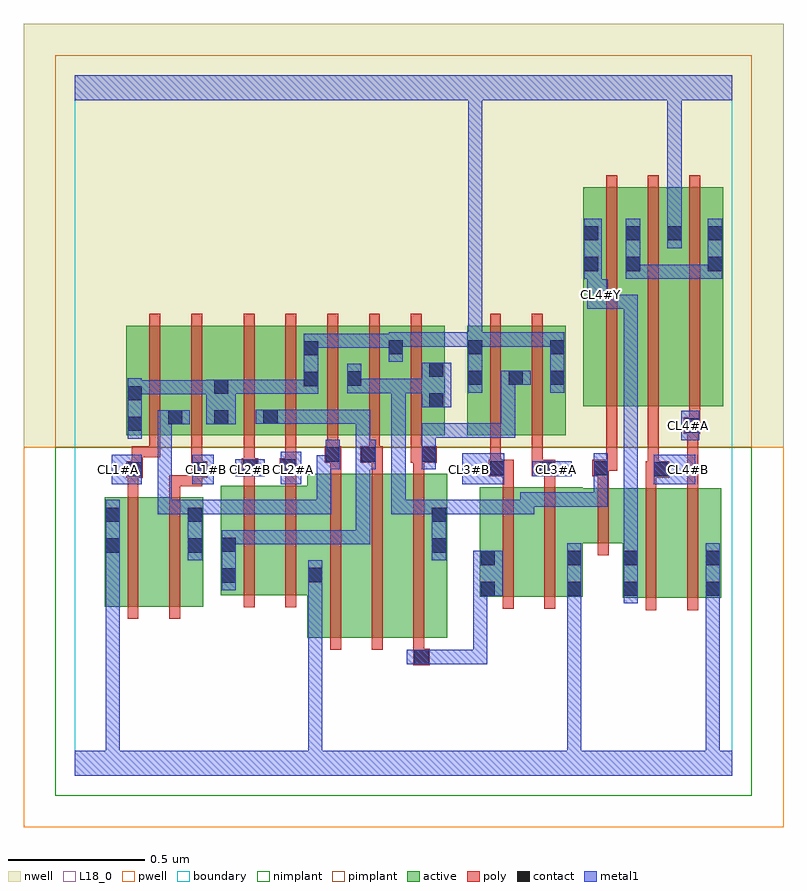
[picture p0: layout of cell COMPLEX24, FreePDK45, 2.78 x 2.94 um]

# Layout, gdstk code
import gdstk
lib = gdstk.Library(unit=1e-6, precision=1e-09)
def R(c, l, rs):  # rectangles x0, y0, x1, y1
    for r in rs: c.add(gdstk.rectangle(r[:2], r[2:], *l))
def A(c, l, x, y, w, h, nx, ny, dx, dy):  # array of equal rectangles
    R(c, l, [(x+i*dx, y+j*dy, x+i*dx+w, y+j*dy+h) for i in range(nx) for j in range(ny)])
active = (1, 0)
pwell = (2, 0)
nwell = (3, 0)
nimplant = (4, 0)
pimplant = (5, 0)
poly = (9, 0)
contact = (10, 0)
metal1 = (11, 0)
L18_0 = (18, 0)
boundary = (235, 0)

complex24 = lib.new_cell('COMPLEX24')
R(complex24, active, [(0.848,0.504,1.028,1.104), (1.028,0.504,1.18,1.104), (1.18,0.504,1.36,1.104), (1.3,0.556,1.36,1.104), (0.108,0.618,0.168,1.018), (0.108,0.618,0.288,1.018), (0.288,0.618,0.468,1.018), (0.408,0.618,0.468,1.018), (2,0.65,2.06,1.05), (2,0.65,2.18,1.05), (2.18,0.65,2.36,1.05), (2.3,0.65,2.36,1.05), (1.478,0.654,1.538,1.054), (1.478,0.654,1.658,1.054), (1.658,0.654,1.854,1.054), (1.794,0.654,1.854,0.85), (0.532,0.66,0.592,1.06), (0.532,0.66,0.712,1.06), (0.712,0.66,0.908,1.06), (0.848,0.704,0.908,0.764), (1.794,0.85,2.06,1.05), (0.188,1.244,0.248,1.644), (0.188,1.244,0.396,1.644), (0.336,1.244,0.564,1.644), (0.504,1.244,0.744,1.644), (0.684,1.244,0.892,1.644), (0.832,1.244,1.05,1.644), (0.99,1.244,1.202,1.644), (1.142,1.244,1.35,1.644), (1.29,1.244,1.35,1.644), (1.432,1.244,1.492,1.644), (1.432,1.244,1.64,1.644), (1.58,1.244,1.792,1.644), (1.732,1.244,1.792,1.644), (0.336,1.28,0.396,1.644), (0.504,1.28,0.564,1.644), (0.684,1.282,0.744,1.644), (1.856,1.35,1.916,2.044), (1.856,1.35,2.068,2.15), (2.008,1.35,2.22,2.15), (2.16,1.35,2.368,2.15), (2.16,1.35,2.22,2.15), (2.308,1.35,2.368,2.044), (0.832,1.42,0.892,1.644), (0.99,1.422,1.05,1.644), (1.58,1.424,1.64,1.644), (1.142,1.536,1.202,1.644), (2.008,1.686,2.068,2.044)])
R(complex24, pwell, [(-0.188,-0.188,2.588,1.2)])
R(complex24, nwell, [(-0.188,1.2,2.588,2.748)])
R(complex24, nimplant, [(-0.072,-0.072,2.472,1.2)])
R(complex24, pimplant, [(-0.072,1.2,2.472,2.632)])
A(complex24, poly, 0.932, 0.46, 0.04, 0.688, 3, 1, 0.152, 0)
A(complex24, poly, 0.932, 1.108, 0.04, 0.076, 3, 1, 0.152, 0)
A(complex24, poly, 0.922, 1.164, 0.04, 0.076, 3, 1, 0.152, 0)
A(complex24, poly, 0.922, 1.2, 0.04, 0.488, 3, 1, 0.152, 0)
A(complex24, poly, 1.94, 1.306, 0.04, 0.888, 3, 1, 0.152, 0)
R(complex24, poly, [(1.236,0.404,1.296,0.464), (1.236,0.424,1.276,0.5), (0.192,0.574,0.232,1.062), (0.344,0.574,0.384,1.062), (2.084,0.606,2.124,1.094), (2.236,0.606,2.276,1.094), (1.562,0.61,1.602,1.098), (1.714,0.61,1.754,1.098), (0.616,0.616,0.656,1.104), (0.768,0.616,0.808,1.104), (1.91,0.806,1.95,1.094), (0.192,1.022,0.232,1.13), (0.344,1.022,0.384,1.098), (1.91,1.054,1.95,1.134), (2.084,1.054,2.124,1.13), (2.236,1.054,2.276,1.29), (0.344,1.058,0.464,1.098), (0.424,1.058,0.464,1.13), (1.562,1.058,1.602,1.134), (1.714,1.058,1.754,1.134), (0.616,1.064,0.656,1.14), (0.768,1.064,0.808,1.14), (0.188,1.09,0.248,1.15), (0.424,1.09,0.484,1.15), (2.084,1.09,2.17,1.15), (1.512,1.094,1.602,1.154), (1.668,1.094,1.754,1.154), (1.714,1.094,1.754,1.134), (1.714,1.094,1.754,1.134), (1.89,1.094,1.95,1.154), (0.61,1.1,0.67,1.16), (0.616,1.1,0.656,1.14), (0.616,1.1,0.656,1.14), (0.748,1.1,0.808,1.16), (0.768,1.1,0.808,1.14), (0.768,1.1,0.808,1.14), (0.208,1.11,0.248,1.204), (0.424,1.11,0.464,1.24), (2.092,1.11,2.132,1.15), (2.092,1.11,2.132,1.15), (2.092,1.11,2.132,1.346), (1.516,1.114,1.556,1.154), (1.516,1.114,1.556,1.154), (1.516,1.114,1.556,1.24), (1.668,1.114,1.708,1.24), (1.91,1.114,1.95,1.154), (1.91,1.114,1.98,1.154), (1.94,1.114,1.98,1.346), (0.616,1.12,0.656,1.24), (0.768,1.12,0.808,1.24), (0.912,1.144,0.972,1.204), (1.042,1.144,1.124,1.204), (1.226,1.144,1.322,1.204), (1.236,1.144,1.276,1.184), (1.236,1.144,1.276,1.184), (0.208,1.164,0.312,1.204), (0.272,1.164,0.312,1.24), (0.922,1.164,0.962,1.204), (0.922,1.164,0.962,1.204), (1.074,1.164,1.114,1.204), (1.074,1.164,1.114,1.204), (0.272,1.2,0.312,1.688), (0.424,1.2,0.464,1.688), (0.616,1.2,0.656,1.688), (0.768,1.2,0.808,1.688), (1.516,1.2,1.556,1.688), (1.668,1.2,1.708,1.688), (2.224,1.25,2.284,1.31), (2.236,1.25,2.276,1.29), (2.236,1.25,2.276,1.29), (2.244,1.27,2.284,1.346)])
A(complex24, contact, 1.86, 1.956, 0.052, 0.052, 3, 1, 0.152, 0)
R(complex24, contact, [(1.24,0.408,1.292,0.46), (1.482,0.658,1.534,0.71), (1.798,0.658,1.85,0.71), (2.004,0.658,2.056,0.71), (2.304,0.658,2.356,0.71), (0.536,0.706,0.588,0.758), (0.852,0.708,0.904,0.76), (1.482,0.77,1.534,0.822), (1.798,0.77,1.85,0.822), (2.004,0.77,2.056,0.822), (2.304,0.77,2.356,0.822), (0.112,0.816,0.164,0.868), (0.412,0.816,0.464,0.868), (1.304,0.816,1.356,0.868), (0.536,0.818,0.588,0.87), (0.112,0.928,0.164,0.98), (0.412,0.928,0.464,0.98), (1.304,0.928,1.356,0.98), (0.192,1.094,0.244,1.146), (0.428,1.094,0.48,1.146), (2.114,1.094,2.166,1.146), (1.516,1.098,1.568,1.15), (1.698,1.098,1.75,1.15), (1.894,1.098,1.946,1.15), (0.614,1.104,0.666,1.156), (0.752,1.104,0.804,1.156), (0.916,1.148,0.968,1.2), (1.046,1.148,1.098,1.2), (1.266,1.148,1.318,1.2), (2.228,1.254,2.28,1.306), (0.192,1.26,0.244,1.312), (0.34,1.284,0.392,1.336), (0.508,1.284,0.56,1.336), (0.688,1.286,0.74,1.338), (1.294,1.346,1.346,1.398), (0.192,1.372,0.244,1.424), (0.508,1.396,0.56,1.448), (0.836,1.424,0.888,1.476), (0.994,1.426,1.046,1.478), (1.436,1.428,1.488,1.48), (1.584,1.428,1.636,1.48), (1.736,1.428,1.788,1.48), (1.294,1.458,1.346,1.51), (0.836,1.536,0.888,1.588), (1.146,1.54,1.198,1.592), (1.436,1.54,1.488,1.592), (1.736,1.54,1.788,1.592), (1.86,1.844,1.912,1.896), (2.012,1.844,2.064,1.896), (2.312,1.844,2.364,1.896), (2.312,1.956,2.364,2.008)])
R(complex24, metal1, [(0,0,2.4,0.092), (0.112,0.04,0.164,0.092), (0.112,0.04,0.164,0.092), (0.112,0.04,0.164,0.092), (0.112,0.04,0.164,0.092), (0.112,0.04,0.164,0.092), (0.112,0.04,0.164,0.092), (0.112,0.04,0.164,0.092), (0.112,0.04,0.164,0.092), (0.112,0.04,0.164,0.092), (0.112,0.04,0.164,0.092), (0.112,0.04,0.164,0.092), (0.112,0.04,0.164,0.092), (0.112,0.04,0.164,0.84), (0.852,0.04,0.904,0.092), (0.852,0.04,0.904,0.092), (0.852,0.04,0.904,0.092), (0.852,0.04,0.904,0.092), (0.852,0.04,0.904,0.092), (0.852,0.04,0.904,0.092), (0.852,0.04,0.904,0.642), (1.798,0.04,1.85,0.092), (1.798,0.04,1.85,0.092), (1.798,0.04,1.85,0.092), (1.798,0.04,1.85,0.092), (1.798,0.04,1.85,0.202), (2.304,0.04,2.356,0.682), (2.304,0.04,2.356,0.092), (2.304,0.04,2.356,0.092), (2.304,0.04,2.356,0.092), (2.304,0.04,2.356,0.092), (2.304,0.04,2.356,0.092), (2.304,0.04,2.356,0.092), (2.304,0.04,2.356,0.092), (2.304,0.04,2.356,0.092), (2.304,0.04,2.356,0.092), (2.304,0.04,2.356,0.092), (2.304,0.04,2.356,0.092), (2.304,0.04,2.356,0.092), (1.798,0.15,1.85,0.202), (1.798,0.15,1.85,0.202), (1.798,0.15,1.85,0.202), (1.798,0.15,1.85,0.202), (1.798,0.15,1.85,0.202), (1.798,0.15,1.85,0.202), (1.798,0.15,1.85,0.202), (1.798,0.15,1.85,0.682), (1.212,0.408,1.32,0.46), (1.268,0.408,1.32,0.46), (1.268,0.408,1.32,0.46), (1.268,0.408,1.506,0.46), (1.454,0.408,1.506,0.46), (1.454,0.408,1.506,0.71), (0.852,0.59,0.904,0.642), (0.852,0.59,0.904,0.732), (1.798,0.63,1.85,0.85), (2.004,0.63,2.056,0.85), (2.304,0.63,2.356,0.85), (1.454,0.658,1.506,0.71), (1.454,0.658,1.506,0.71), (1.454,0.658,1.506,0.71), (1.454,0.658,1.506,0.71), (1.454,0.658,1.562,0.822), (0.536,0.678,0.588,0.898), (0.852,0.68,0.904,0.788), (0.112,0.788,0.164,1.008), (0.412,0.788,0.464,1.008), (1.304,0.788,1.356,1.008), (2.004,0.798,2.056,0.85), (2.004,0.798,2.056,0.85), (2.004,0.798,2.056,1.758), (0.536,0.846,0.778,0.898), (0.536,0.846,0.588,0.898), (0.536,0.846,0.588,0.898), (0.726,0.846,0.778,0.898), (0.726,0.846,0.778,0.898), (0.726,0.846,0.778,0.898), (0.726,0.846,0.936,0.898), (0.884,0.846,0.936,0.898), (0.884,0.846,0.936,0.898), (0.884,0.846,0.936,0.898), (0.884,0.846,1.078,0.898), (1.026,0.846,1.078,0.898), (1.026,0.846,1.078,1.228), (0.302,0.956,0.354,1.008), (0.302,0.956,0.354,1.008), (0.302,0.956,0.354,1.008), (0.302,0.956,0.354,1.008), (0.302,0.956,0.354,1.008), (0.302,0.956,0.464,1.008), (0.302,0.956,0.354,1.336), (0.412,0.956,0.464,1.008), (0.412,0.956,0.464,1.008), (0.412,0.956,0.464,1.008), (0.412,0.956,0.464,1.008), (0.412,0.956,0.588,1.008), (0.536,0.956,0.588,1.008), (0.536,0.956,0.724,1.008), (0.672,0.956,0.724,1.008), (0.672,0.956,0.724,1.008), (0.672,0.956,0.724,1.008), (0.672,0.956,0.936,1.008), (0.884,0.956,0.936,1.172), (1.156,0.956,1.208,1.008), (1.156,0.956,1.208,1.008), (1.156,0.956,1.208,1.008), (1.156,0.956,1.356,1.008), (1.156,0.956,1.208,1.45), (1.304,0.956,1.466,1.008), (1.414,0.956,1.466,1.008), (1.414,0.956,1.466,1.008), (1.414,0.956,1.466,1.008), (1.414,0.956,1.678,1.008), (1.626,0.956,1.678,1.008), (1.626,0.956,1.678,1.036), (1.626,0.984,1.678,1.036), (1.626,0.984,1.788,1.036), (1.736,0.984,1.788,1.036), (1.736,0.984,1.788,1.036), (1.736,0.984,1.788,1.036), (1.736,0.984,1.946,1.036), (1.894,0.984,1.946,1.122), (0.134,1.066,0.244,1.174), (0.428,1.066,0.506,1.174), (0.752,1.066,0.826,1.184), (1.414,1.066,1.568,1.178), (2.114,1.066,2.266,1.174), (1.894,1.07,1.946,1.122), (1.894,1.07,1.946,1.178), (0.586,1.094,0.694,1.156), (1.67,1.094,1.814,1.15), (0.884,1.12,0.968,1.172), (0.916,1.12,0.968,1.228), (1.046,1.12,1.098,1.228), (1.266,1.12,1.318,1.228), (1.026,1.176,1.078,1.228), (1.026,1.176,1.078,1.338), (1.026,1.176,1.098,1.228), (1.266,1.176,1.318,1.228), (1.266,1.176,1.318,1.288), (2.214,1.226,2.28,1.334), (0.192,1.232,0.244,1.452), (1.266,1.236,1.498,1.288), (1.446,1.236,1.498,1.288), (1.446,1.236,1.608,1.288), (1.556,1.236,1.608,1.288), (1.556,1.236,1.608,1.288), (1.556,1.236,1.608,1.288), (1.556,1.236,1.608,1.48), (0.302,1.284,0.42,1.336), (0.48,1.284,0.588,1.448), (0.66,1.286,0.768,1.338), (0.716,1.286,0.768,1.338), (0.716,1.286,0.768,1.338), (0.716,1.286,0.936,1.338), (0.884,1.286,0.936,1.338), (0.884,1.286,0.936,1.338), (0.884,1.286,0.936,1.338), (0.884,1.286,0.936,1.338), (0.884,1.286,0.936,1.338), (0.884,1.286,1.078,1.338), (1.026,1.286,1.078,1.338), (1.266,1.346,1.374,1.51), (0.192,1.394,0.244,1.446), (0.192,1.394,0.244,1.446), (0.192,1.394,0.354,1.446), (0.302,1.394,0.354,1.446), (0.302,1.394,0.354,1.446), (0.302,1.394,0.354,1.446), (0.302,1.394,0.478,1.446), (0.426,1.394,0.478,1.446), (0.426,1.394,0.532,1.446), (0.536,1.396,0.588,1.448), (0.536,1.396,0.588,1.448), (0.536,1.396,0.698,1.448), (0.646,1.396,0.888,1.448), (0.646,1.396,0.698,1.448), (0.646,1.396,0.698,1.448), (0.646,1.396,0.698,1.448), (0.836,1.396,0.888,1.616), (0.994,1.398,1.046,1.506), (0.994,1.398,1.098,1.45), (1.046,1.398,1.098,1.45), (1.046,1.398,1.208,1.45), (1.156,1.398,1.208,1.45), (1.156,1.398,1.208,1.45), (1.156,1.398,1.208,1.45), (1.156,1.398,1.208,1.45), (1.156,1.398,1.208,1.45), (1.156,1.398,1.318,1.45), (1.266,1.398,1.318,1.45), (1.266,1.398,1.318,1.45), (1.436,1.4,1.488,1.62), (1.736,1.4,1.788,1.62), (1.556,1.428,1.664,1.48), (1.146,1.512,1.198,1.62), (0.836,1.564,0.936,1.616), (0.884,1.564,0.936,1.616), (0.884,1.564,1.088,1.616), (1.036,1.564,1.088,1.616), (1.036,1.564,1.088,1.616), (1.036,1.564,1.088,1.616), (1.036,1.564,1.198,1.616), (1.146,1.568,1.356,1.62), (1.304,1.568,1.356,1.62), (1.304,1.568,1.356,1.62), (1.304,1.568,1.356,1.62), (1.304,1.568,1.488,1.62), (1.436,1.568,1.678,1.62), (1.436,1.568,1.488,1.62), (1.436,1.568,1.488,1.62), (1.436,1.568,1.488,2.52), (1.626,1.568,1.678,1.62), (1.626,1.568,1.788,1.62), (1.736,1.568,1.788,1.62), (1.736,1.568,1.788,1.62), (1.872,1.706,1.946,1.814), (1.894,1.706,1.946,1.758), (1.894,1.706,1.946,1.758), (1.894,1.706,2.056,1.758), (2.004,1.706,2.056,1.758), (1.872,1.762,1.924,1.868), (1.86,1.816,1.924,2.036), (2.012,1.816,2.064,2.036), (2.012,1.816,2.064,1.868), (2.012,1.816,2.064,1.868), (2.012,1.816,2.174,1.868), (2.122,1.816,2.364,1.868), (2.122,1.816,2.174,1.868), (2.122,1.816,2.174,1.868), (2.122,1.816,2.174,1.868), (2.312,1.816,2.364,2.036), (2.164,1.928,2.216,2.036), (2.164,1.984,2.216,2.52), (0,2.468,2.4,2.56), (1.436,2.468,1.488,2.52), (1.436,2.468,1.488,2.52), (1.436,2.468,1.488,2.52), (1.436,2.468,1.488,2.52), (1.436,2.468,1.488,2.52), (1.436,2.468,1.488,2.52), (1.436,2.468,1.488,2.52), (1.436,2.468,1.488,2.52), (1.436,2.468,1.488,2.52), (1.436,2.468,1.488,2.52), (1.436,2.468,1.488,2.52), (1.436,2.468,1.488,2.52), (1.436,2.468,1.488,2.52), (1.436,2.468,1.488,2.52), (1.436,2.468,1.488,2.52), (1.436,2.468,1.488,2.52), (2.164,2.468,2.216,2.52), (2.164,2.468,2.216,2.52), (2.164,2.468,2.216,2.52), (2.164,2.468,2.216,2.52), (2.164,2.468,2.216,2.52), (2.164,2.468,2.216,2.52), (2.164,2.468,2.216,2.52), (2.164,2.468,2.216,2.52)])
A(complex24, L18_0, 0.454, 1.094, 0.052, 0.052, 3, 1, 0.16, 0)
R(complex24, L18_0, [(0,0,2.4,0.092), (0.112,0.04,0.164,0.092), (0.112,0.04,0.164,0.092), (0.112,0.04,0.164,0.092), (0.112,0.04,0.164,0.092), (0.112,0.04,0.164,0.092), (0.112,0.04,0.164,0.092), (0.112,0.04,0.164,0.092), (0.112,0.04,0.164,0.092), (0.112,0.04,0.164,0.092), (0.112,0.04,0.164,0.092), (0.112,0.04,0.164,0.092), (0.112,0.04,0.164,0.092), (0.112,0.04,0.164,0.84), (0.852,0.04,0.904,0.092), (0.852,0.04,0.904,0.092), (0.852,0.04,0.904,0.092), (0.852,0.04,0.904,0.092), (0.852,0.04,0.904,0.092), (0.852,0.04,0.904,0.092), (0.852,0.04,0.904,0.642), (1.798,0.04,1.85,0.092), (1.798,0.04,1.85,0.092), (1.798,0.04,1.85,0.092), (1.798,0.04,1.85,0.092), (1.798,0.04,1.85,0.202), (2.304,0.04,2.356,0.092), (2.304,0.04,2.356,0.092), (2.304,0.04,2.356,0.092), (2.304,0.04,2.356,0.092), (2.304,0.04,2.356,0.092), (2.304,0.04,2.356,0.092), (2.304,0.04,2.356,0.092), (2.304,0.04,2.356,0.092), (2.304,0.04,2.356,0.092), (2.304,0.04,2.356,0.092), (2.304,0.04,2.356,0.092), (2.304,0.04,2.356,0.092), (2.304,0.04,2.356,0.682), (1.798,0.15,1.85,0.202), (1.798,0.15,1.85,0.202), (1.798,0.15,1.85,0.202), (1.798,0.15,1.85,0.202), (1.798,0.15,1.85,0.202), (1.798,0.15,1.85,0.202), (1.798,0.15,1.85,0.202), (1.798,0.15,1.85,0.682), (0.852,0.59,0.904,0.642), (0.852,0.59,0.904,0.732), (1.798,0.63,1.85,0.85), (2.004,0.63,2.056,0.85), (2.304,0.63,2.356,0.85), (0.852,0.68,0.904,0.788), (0.112,0.788,0.164,1.008), (2.004,0.798,2.056,0.85), (2.004,0.798,2.056,0.85), (2.004,0.798,2.056,1.758), (0.134,1.066,0.244,1.174), (0.428,1.066,0.506,1.174), (0.752,1.066,0.826,1.184), (1.414,1.066,1.568,1.178), (2.114,1.066,2.266,1.174), (0.134,1.094,0.186,1.146), (0.586,1.094,0.694,1.156), (1.414,1.094,1.466,1.146), (1.67,1.094,1.814,1.15), (1.734,1.094,1.786,1.146), (2.214,1.094,2.266,1.146), (2.214,1.226,2.28,1.334), (0.192,1.232,0.244,1.452), (2.214,1.254,2.266,1.306), (0.48,1.284,0.588,1.448), (0.192,1.394,0.244,1.446), (0.192,1.394,0.244,1.446), (0.192,1.394,0.354,1.446), (0.302,1.394,0.354,1.446), (0.302,1.394,0.354,1.446), (0.302,1.394,0.354,1.446), (0.302,1.394,0.478,1.446), (0.426,1.394,0.478,1.446), (0.426,1.394,0.532,1.446), (0.536,1.396,0.588,1.448), (0.536,1.396,0.588,1.448), (0.536,1.396,0.698,1.448), (0.646,1.396,0.698,1.448), (0.646,1.396,0.698,1.448), (0.646,1.396,0.698,1.448), (0.646,1.396,0.888,1.448), (0.836,1.396,0.888,1.616), (1.436,1.4,1.488,1.62), (1.736,1.4,1.788,1.62), (1.146,1.512,1.198,1.62), (0.836,1.564,0.936,1.616), (0.884,1.564,0.936,1.616), (0.884,1.564,1.088,1.616), (1.036,1.564,1.088,1.616), (1.036,1.564,1.088,1.616), (1.036,1.564,1.088,1.616), (1.036,1.564,1.198,1.616), (1.146,1.568,1.356,1.62), (1.304,1.568,1.356,1.62), (1.304,1.568,1.356,1.62), (1.304,1.568,1.356,1.62), (1.304,1.568,1.488,1.62), (1.436,1.568,1.488,1.62), (1.436,1.568,1.488,1.62), (1.436,1.568,1.678,1.62), (1.436,1.568,1.488,2.52), (1.626,1.568,1.678,1.62), (1.626,1.568,1.788,1.62), (1.736,1.568,1.788,1.62), (1.736,1.568,1.788,1.62), (1.872,1.706,1.946,1.814), (1.894,1.706,1.946,1.758), (1.894,1.706,1.946,1.758), (1.894,1.706,2.056,1.758), (2.004,1.706,2.056,1.758), (1.894,1.734,1.946,1.786), (1.872,1.762,1.924,1.868), (1.86,1.816,1.924,2.036), (2.164,1.928,2.216,2.036), (2.164,1.984,2.216,2.52), (0,2.468,2.4,2.56), (1.436,2.468,1.488,2.52), (1.436,2.468,1.488,2.52), (1.436,2.468,1.488,2.52), (1.436,2.468,1.488,2.52), (1.436,2.468,1.488,2.52), (1.436,2.468,1.488,2.52), (1.436,2.468,1.488,2.52), (1.436,2.468,1.488,2.52), (1.436,2.468,1.488,2.52), (1.436,2.468,1.488,2.52), (1.436,2.468,1.488,2.52), (1.436,2.468,1.488,2.52), (1.436,2.468,1.488,2.52), (1.436,2.468,1.488,2.52), (1.436,2.468,1.488,2.52), (1.436,2.468,1.488,2.52), (2.164,2.468,2.216,2.52), (2.164,2.468,2.216,2.52), (2.164,2.468,2.216,2.52), (2.164,2.468,2.216,2.52), (2.164,2.468,2.216,2.52), (2.164,2.468,2.216,2.52), (2.164,2.468,2.216,2.52), (2.164,2.468,2.216,2.52)])
R(complex24, boundary, [(0,0,2.4,2.56)])
complex24.add(gdstk.Label('CL1#A', (0.16,1.12), layer=11, texttype=0))
complex24.add(gdstk.Label('CL1#B', (0.48,1.12), layer=11, texttype=0))
complex24.add(gdstk.Label('CL2#A', (0.8,1.12), layer=11, texttype=0))
complex24.add(gdstk.Label('CL2#B', (0.64,1.12), layer=11, texttype=0))
complex24.add(gdstk.Label('CL3#A', (1.76,1.12), layer=11, texttype=0))
complex24.add(gdstk.Label('CL3#B', (1.44,1.12), layer=11, texttype=0))
complex24.add(gdstk.Label('CL4#A', (2.24,1.28), layer=11, texttype=0))
complex24.add(gdstk.Label('CL4#B', (2.24,1.12), layer=11, texttype=0))
complex24.add(gdstk.Label('CL4#Y', (1.92,1.76), layer=11, texttype=0))

lib.write_gds('COMPLEX24.gds')
